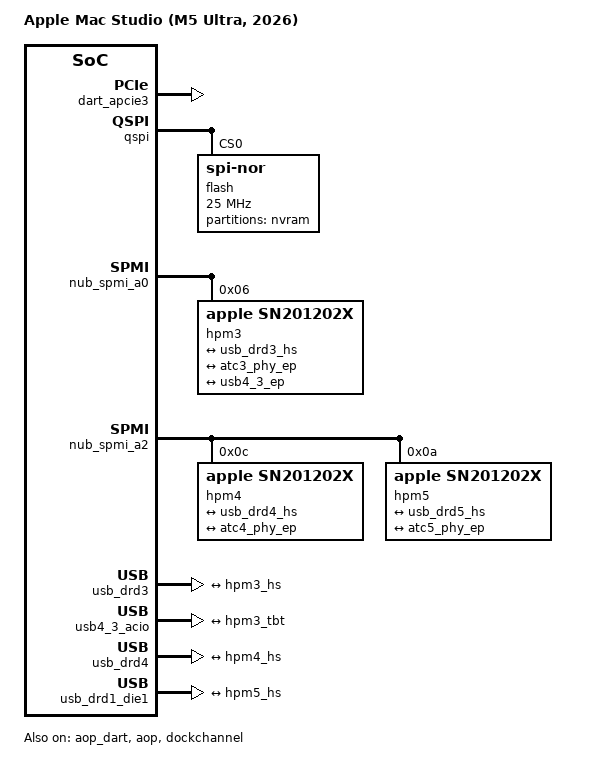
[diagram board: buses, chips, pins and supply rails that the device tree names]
// SPDX-License-Identifier: GPL-2.0+ OR MIT
/*
 * Mac Studio (M5 Ultra, 2026)
 *
 * target-type: J775D
 *
 * Copyright The Asahi Linux Contributors
 */

/dts-v1/;

#include "t6050-ultra.dtsi"
#include "t6050-studio-audio.dtsi"

/ {
	compatible = "apple,j775d", "apple,t6050", "apple,arm-platform";
	model = "Apple Mac Studio (M5 Ultra, 2026)";
	chassis-type = "desktop";

	aliases {
		serial0 = &dockchannel;
		/* the boot loader fills in the MAC address through this alias */
		ethernet0 = &ethernet0;
		/* kboot fills the N1's factory addresses from /chosen through these */
		wifi0 = &n1_alpha;
		bluetooth0 = &n1_beta;
		/* Aura's kboot_setup_atc() fills this PHY's tunables from /arm-io/atc-phy2. */
		atcphy2 = &atc2_phy;
		/* The same fills /arm-io/atc-phy1's (rear USB-C port 2, USB data). */
		atcphy1 = &atc1_phy;
		/* And rear port 4's and the front ports' (die 1), while their chains wait for the PHY. */
		atcphy3 = &atc3_phy;
		atcphy4 = &atc4_phy;
		atcphy5 = &atc1_phy_die1;
		/* Aura's ACIO tunable copy fills rear port 4's router (/arm-io/acio3) through these. */
		usb4-3-acio = &usb4_3_acio;
		usb4-3-nhi = &usb4_3_nhi;
		/* asahi-bless and the boot loader's dt_set_nvram find the partition by this alias */
		nvram = &nvram;
	};

	/*
	 * No stdout-path: the boot loader passes the console on the command
	 * line when it wants one.
	 */
	chosen {
		#address-cells = <2>;
		#size-cells = <2>;
		ranges;
	};
};

&sound {
	compatible = "apple,j775d-macaudio", "apple,macaudio";
	model = "Mac Studio J775D";
};

/*
 * The AOP, with its RTKit mailbox, its DART and the audio DMA controller, booted over the RTKit
 * mailbox alone. This board's AOP firmware does not service the setup port: started through both,
 * it sends nothing there and leaves the AP's message unread. The setup mailbox stays described,
 * disabled.
 */
&aop_mbox {
	status = "okay";
};

&aop_dart {
	status = "okay";
};

&admac_base_ns {
	status = "okay";
};

&aop {
	mboxes = <&aop_mbox>;
	mbox-names = "mbox";
	status = "okay";
};

/*
 * Shared with the Mac mini: the onboard Ethernet (PCIe port 2, an RTL8127A here) and rear
 * USB-C ports 1-3. Port 1 (HPM0, "back-right") is reserved for the debug link.
 */
#define T6050_DESKTOP_HPM1_LABEL "USB-C Back-right-middle"
#define T6050_DESKTOP_HPM2_LABEL "USB-C Back-left-middle"
#include "t6050-desktop.dtsi"

/*
 * PCIe ports 2 (the onboard 10 Gb Ethernet) and 3 (the rear USB-A xHCI). The boot loader
 * powers and trains both links; it disables a port, and its DART, whose link did not come up.
 * Port 2's node is in t6050-desktop.dtsi.
 *
 * Port 0 carries the N1 (Wi-Fi and Bluetooth), described disabled until the boot loader trains
 * it (pci@0,0 below).
 */
&pcie0 {
	reg = <0x1c 0xb0000000 0x0 0x10000000>,
	      <0x4 0x14000000 0x0 0x4000>,
	      <0x4 0x12028000 0x0 0x8000>,
	      <0x4 0x17018000 0x0 0x4000>,
	      <0x4 0x12024000 0x0 0x4000>,
	      <0x4 0x13028000 0x0 0x8000>,
	      <0x4 0x1701c000 0x0 0x4000>,
	      <0x4 0x13024000 0x0 0x4000>,
	      <0x4 0x10028000 0x0 0x8000>,
	      <0x4 0x17010000 0x0 0x4000>,
	      <0x4 0x10024000 0x0 0x4000>;
	reg-names = "config", "rc", "port2", "phy2", "intr2axi2",
		    "port3", "phy3", "intr2axi3",
		    "port0", "phy0", "intr2axi0";
	interrupts = <AIC_IRQ 0 1539 IRQ_TYPE_LEVEL_HIGH>,
		     <AIC_IRQ 0 1547 IRQ_TYPE_LEVEL_HIGH>,
		     <AIC_IRQ 0 1523 IRQ_TYPE_LEVEL_HIGH>;
	interrupt-names = "port2", "port3", "port0";

	/*
	 * The boot loader numbers port 2's secondary bus 1 and port 3's 2;
	 * port 0's is 3 until a boot loader that trains it renumbers all three
	 * in the PCI core's order. The N1's three functions are on DART
	 * streams 1-3.
	 */
	iommu-map = <0x100 &dart_apcie2 1 1>,
		    <0x200 &dart_apcie3 1 1>,
		    <0x300 &dart_apcie0 1 3>;
	bus-range = <0 3>;

	port03: pci@3,0 {
		device_type = "pci";
		reg = <0x1800 0 0 0 0>;
		bus-range = <2 2>;
		apple,link-trained-by-bootloader;

		#address-cells = <3>;
		#size-cells = <2>;
		ranges;

		interrupt-controller;
		#interrupt-cells = <1>;
		interrupt-map-mask = <0 0 0 7>;
		interrupt-map = <0 0 0 1 &port03 0 0 0 0>,
				<0 0 0 2 &port03 0 0 0 1>,
				<0 0 0 3 &port03 0 0 0 2>,
				<0 0 0 4 &port03 0 0 0 3>;
	};

	/*
	 * The N1 Wi-Fi/Bluetooth (106b:1900, its ROM), trained by the bootloader after the SMC
	 * releases its reset. Its driver boots the firmware and has this port reset after the ROM
	 * stage; Control, Alpha (Wi-Fi) and Beta (Bluetooth) then answer at functions 0-2.
	 * Disabled with its DART: a bootloader that trains the port enables both and renumbers the
	 * buses here (bus-range, reg, iommu-map) to the PCI core's order, port 0 first.
	 */
	port00: pci@0,0 {
		device_type = "pci";
		reg = <0x0 0 0 0 0>;
		bus-range = <3 3>;
		apple,link-trained-by-bootloader;
		/*
		 * Its PERST# (pci-bridge0 function-perst): /arm-io/gpio0 pin 0x50, pad
		 * register 0x140 of pinctrl_ap, which owns the pad (and exposes it: see
		 * its gpio-reserved-ranges below). Driven only by the root-port reset after
		 * the N1's ROM stage.
		 */
		reset-gpios = <&pinctrl_ap 80 GPIO_ACTIVE_LOW>;
		status = "disabled";

		#address-cells = <3>;
		#size-cells = <2>;
		ranges;

		interrupt-controller;
		#interrupt-cells = <1>;
		interrupt-map-mask = <0 0 0 7>;
		interrupt-map = <0 0 0 1 &port00 0 0 0 0>,
				<0 0 0 2 &port00 0 0 0 1>,
				<0 0 0 3 &port00 0 0 0 2>,
				<0 0 0 4 &port00 0 0 0 3>;

		/* The firmware: the chip's image with this board's ticket; platform ID is
		 * (board 0x12 << 16) | chip 0x6050 */
		n1_control: control@0,0 {
			compatible = "pci106b,1900";
			reg = <0x30000 0x0 0x0 0x0 0x0>;
			firmware-name = "apple/centauri/j775d-ftab.bin";
			apple,centauri-platform-id = <0x00126050>;
			apple,centauri-protocol = <27>;
		};

		n1_alpha: wifi@0,1 {
			compatible = "pci106b,1902";
			reg = <0x30100 0x0 0x0 0x0 0x0>;
			local-mac-address = [00 00 00 00 00 00];
		};

		n1_beta: bluetooth@0,2 {
			compatible = "pci106b,1903";
			reg = <0x30200 0x0 0x0 0x0 0x0>;
			local-bd-address = [00 00 00 00 00 00];
		};
	};
};

/* The pins this board's nodes name, and no others */
&pinctrl_ap {
	/*
	 * Every pin reads cleanly, but only
	 * the pins a node in this file names are exposed: 80 (PCIe port 0's PERST#, ADT
	 * pci-bridge0 function-perst), 106 (amp IRQ), 107 (amp shutdown), 134 (jack IRQ)
	 * and 139 (jack codec reset), from the ADT's audio-speaker and audio-codec-output.
	 * A reserved line cannot be requested (gpiolib answers -EINVAL), so a node that
	 * names a new pin of pinctrl_ap opens it here too.
	 */
	gpio-reserved-ranges = <0 80>, <81 25>, <108 26>, <135 4>, <140 81>;
};

/*
 * The console is on the USB debug link, which drains only while a host reads
 * it; the machine also boots with nothing attached there.
 */
&dockchannel {
	apple,tx-never-wait;
	status = "okay";
};

&dart_apcie3 {
	status = "okay";
};

/*
 * The Studio's DC input. PSTR and PDTR read 0 on the Studio; PD0R is its DC input (36.5 W at an
 * idle desktop).
 */
&smc_hwmon {
	power-PD0R {
		apple,key-id = "PD0R";
		label = "DC Input Power";
	};
};

#include "hwmon-fan-dual.dtsi"

/*
 * The Studio's SMC has F0Ac/F0Mn/F0Mx/F0Tg and F1*, but its mode keys are F0md/F1md (ui8, flags 0xd0:
 * readable, writable, a function key), not the F0Md/F1Md the dtsi names; with the dtsi's names fan
 * creation failed on the missing key. With the real keys the fans can be set by the kernel's
 * thermal policy (the M5 GPU governor, through macsmc_hwmon_fans_request()). No
 * apple,fan-manual-control: userspace still only reads them.
 */
&smc_hwmon {
	fan-F0Ac {
		apple,fan-mode = "F0md";
	};

	fan-F1Ac {
		apple,fan-mode = "F1md";
	};
};

/*
 * The boot NOR's NVRAM: the loader fills the partition from ADT /arm-io/qspi/spinor/anvram reg
 * (0x700000, 0xc0000 here), 12 banks of 64 KiB (/chosen nvram-bank-count, nvram-bank-size). The
 * flash is spinor's CS0 (its reg's first cell; the second is 0x19, 25), clocked as on T8140's
 * J700. Only this partition is exposed (no MTD_PARTITIONED_MASTER), so the rest of the boot NOR
 * has no device node, and the controller's T8140 policy admits programs and erases only inside
 * this partition.
 */
&qspi {
	status = "okay";

	flash@0 {
		compatible = "jedec,spi-nor";
		reg = <0>;
		spi-max-frequency = <25000000>;
		/* Single-wire, as on T8132's J713: no quad-enable status write at probe */
		spi-rx-bus-width = <1>;
		spi-tx-bus-width = <1>;

		partitions {
			compatible = "fixed-partitions";
			#address-cells = <1>;
			#size-cells = <1>;

			nvram: partition@700000 {
				label = "nvram";
				/* To be filled by the loader */
				reg = <0x0 0x0>;
				status = "disabled";
			};
		};
	};
};

/*
 * The HDMI converter's two power outputs (ADT dp2hdmi-gpio1): line 0 hdmi_pwr_en ('pcIO',
 * 0x800000, 0xf0000), line 1 dp2hdmi_pwr_en ('pcIO', 0x0, 0x1a0000). Nothing drives them until
 * the HDMI output does.
 */
&smc_pcio {
	apple,output-commands = /bits/ 64 <0x000f000000800000 0x001a000000000000>;
};

/*
 * The USB-C ports: rear ports 1-4 on ATC0-3 of die 0, front ports 5 and 6 on ATC0 and ATC1 of
 * die 1. The HPMs of the rear ports are on nub-spmi-a0, those of the front ports on nub-spmi-a2.
 * Rear ports 1-3 are in t6050-desktop.dtsi; rear port 4 and the front ports follow.
 */
&nub_spmi_a0 {
	/* /arm-io/nub-spmi-a0/hpm3: SN201202x (ACE3), SPMI address 6, port-number 4 */
	hpm3: usb-pd@6 {
		compatible = "apple,sn201202x";
		reg = <0x6 SPMI_USID>;

		connector {
			compatible = "usb-c-connector";
			label = "USB-C Back-left";
			power-role = "dual";
			data-role = "host";

			ports {
				#address-cells = <1>;
				#size-cells = <0>;

				port@0 {
					reg = <0>;
					hpm3_hs: endpoint {
						remote-endpoint = <&usb_drd3_hs>;
					};
				};

				port@1 {
					reg = <1>;
					hpm3_ss: endpoint {
						remote-endpoint = <&atc3_phy_ep>;
					};
				};

				/*
				 * The USB4 router (usb4_3_acio), the PD driver's
				 * thunderbolt-switch; port@2 is reserved for DisplayPort
				 * (apple,dcp-typec-routes.yaml).
				 */
				port@3 {
					reg = <3>;
					hpm3_tbt: endpoint {
						remote-endpoint = <&usb4_3_ep>;
					};
				};
			};
		};
	};
};

&nub_spmi_a2 {
	/* /arm-io/nub-spmi-a2/hpm4: SN201202x (ACE3), SPMI address 0xc, port-number 5 */
	hpm4: usb-pd@c {
		compatible = "apple,sn201202x";
		reg = <0xc SPMI_USID>;

		connector {
			compatible = "usb-c-connector";
			label = "USB-C Front-right";
			power-role = "dual";
			data-role = "host";

			ports {
				#address-cells = <1>;
				#size-cells = <0>;

				port@0 {
					reg = <0>;
					hpm4_hs: endpoint {
						remote-endpoint = <&usb_drd4_hs>;
					};
				};

				port@1 {
					reg = <1>;
					hpm4_ss: endpoint {
						remote-endpoint = <&atc4_phy_ep>;
					};
				};
			};
		};
	};

	/* /arm-io/nub-spmi-a2/hpm5: SN201202x (ACE3), SPMI address 0xa, port-number 6 */
	hpm5: usb-pd@a {
		compatible = "apple,sn201202x";
		reg = <0xa SPMI_USID>;

		connector {
			compatible = "usb-c-connector";
			label = "USB-C Front-left";
			power-role = "dual";
			data-role = "host";

			ports {
				#address-cells = <1>;
				#size-cells = <0>;

				port@0 {
					reg = <0>;
					hpm5_hs: endpoint {
						remote-endpoint = <&usb_drd5_hs>;
					};
				};

				port@1 {
					reg = <1>;
					hpm5_ss: endpoint {
						remote-endpoint = <&atc5_phy_ep>;
					};
				};
			};
		};
	};
};

/* Rear USB-C port 4 (HPM3, "back-left"): ATC3, and its USB4/Thunderbolt router */
&atc3_phy {
	port {
		atc3_phy_ep: endpoint {
			remote-endpoint = <&hpm3_ss>;
		};
	};
};

&usb_drd3 {
	port {
		usb_drd3_hs: endpoint {
			remote-endpoint = <&hpm3_hs>;
		};
	};
};

&usb4_3_acio {
	ports {
		#address-cells = <1>;
		#size-cells = <0>;

		port@1 {
			reg = <1>;
			usb4_3_ep: endpoint {
				remote-endpoint = <&hpm3_tbt>;
			};
		};
	};
};

/* Front USB-C port 5 (HPM4, "front-right"): die 1's ATC0 */
&atc4_phy {
	port {
		atc4_phy_ep: endpoint {
			remote-endpoint = <&hpm4_ss>;
		};
	};
};

&usb_drd4 {
	port {
		usb_drd4_hs: endpoint {
			remote-endpoint = <&hpm4_hs>;
		};
	};
};

/* Front USB-C port 6 (HPM5, "front-left"): die 1's ATC1 */
&atc1_phy_die1 {
	port {
		atc5_phy_ep: endpoint {
			remote-endpoint = <&hpm5_ss>;
		};
	};
};

&usb_drd1_die1 {
	port {
		usb_drd5_hs: endpoint {
			remote-endpoint = <&hpm5_hs>;
		};
	};
};

/*
 * The HDMI port: dcpext4, die 1's dcpext0, through its fixed route (die 1's display crossbar,
 * ufp endpoint 0, to lpdptx-phy1, dfp endpoint 4). Aura's T6050 handoff enables it with dcpext0
 * when the engine passes the same checks. No output yet: the HDMI PHY, its converter's power and
 * hotplug come with their drivers.
 */
&dcpext0_die1 {
	apple,connector-type = "HDMI-A";
	apple,dptx-die = <1>;
	apple,dptx-phy = <4>;
	/*
	 * The fixed HDMI route: the PHY (its source select picks this engine: the crossbar has no
	 * registers), the converter's hotplug output (AOP GPIO 14, active high) and its two power
	 * enables (the SMC's pcIO pins 15 and 26).
	 */
	phys = <&lpdptx_phy1>;
	phy-names = "dp-phy";
	hdmi-hpd-gpios = <&pinctrl_aop 14 GPIO_ACTIVE_HIGH>;
	hdmi-pwren-gpios = <&smc_pcio 0 GPIO_ACTIVE_HIGH>;
	dp2hdmi-pwren-gpios = <&smc_pcio 1 GPIO_ACTIVE_HIGH>;
};

#define T6050_J775D
/* The M5 Max die-0 blocks (nub-spmi1, nub-spmi4) */
#include "t6050-soc-max.dtsi"
#include "t6050-peripherals.dtsi"

/*
 * The other three die-0 external display engines (dcpext1..3). The shared
 * properties live in t6050-peripherals.dtsi; each empty typec-routes container
 * asks the boot loader to write the engine's USB-C display routes from the ADT.
 */
&dcpext1 {
	apple,connector-type = "USB-C";

	typec-routes {
		#address-cells = <1>;
		#size-cells = <0>;
	};
};

&dcpext2 {
	apple,connector-type = "USB-C";

	typec-routes {
		#address-cells = <1>;
		#size-cells = <0>;
	};
};

&dcpext3 {
	apple,connector-type = "USB-C";

	typec-routes {
		#address-cells = <1>;
		#size-cells = <0>;
	};
};

#include "t6050-j775d-gpu.dtsi"
